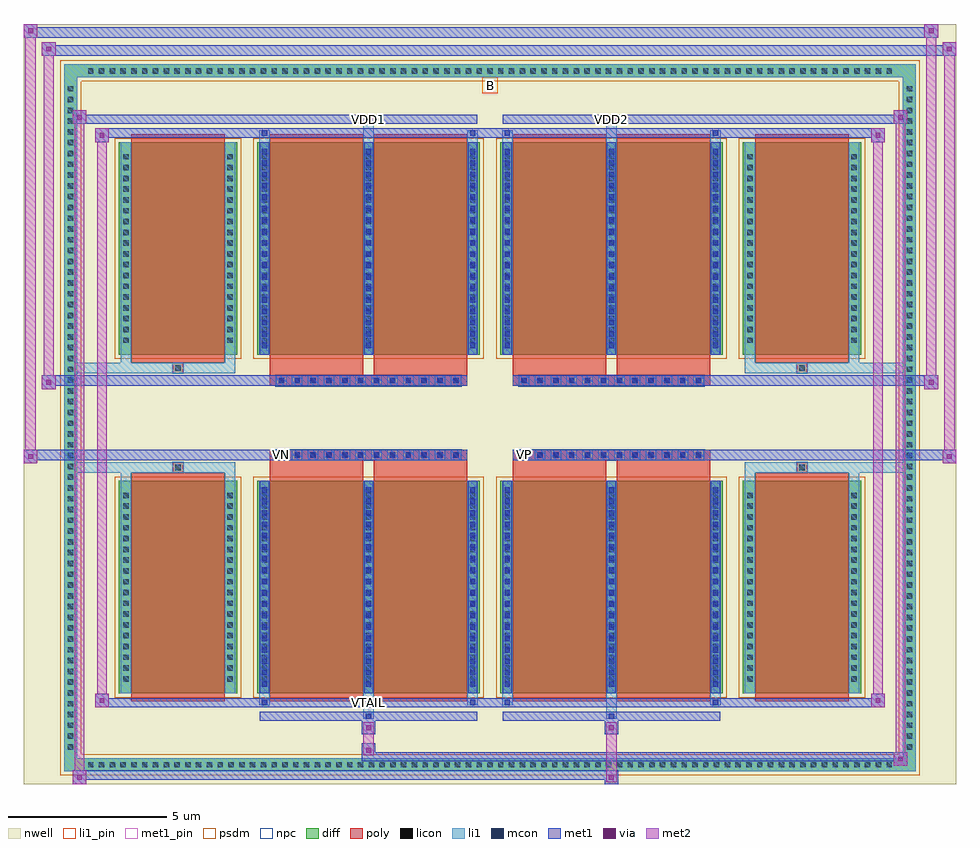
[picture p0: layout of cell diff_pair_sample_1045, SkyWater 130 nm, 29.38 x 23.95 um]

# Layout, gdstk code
import gdstk
lib = gdstk.Library(unit=1e-6, precision=5e-09)
def R(c, l, rs):  # rectangles x0, y0, x1, y1
    for r in rs: c.add(gdstk.rectangle(r[:2], r[2:], *l))
def A(c, l, x, y, w, h, nx, ny, dx, dy):  # array of equal rectangles
    R(c, l, [(x+i*dx, y+j*dy, x+i*dx+w, y+j*dy+h) for i in range(nx) for j in range(ny)])
def P(c, l, *ps):  # polygons
    for p in ps: c.add(gdstk.Polygon(p, *l))
nwell = (64, 20)
diff = (65, 20)
poly = (66, 20)
licon = (66, 44)
li1_pin = (67, 16)
li1 = (67, 20)
mcon = (67, 44)
met1_pin = (68, 16)
met1 = (68, 20)
via = (68, 44)
met2 = (69, 20)
psdm = (94, 20)
npc = (95, 20)

diff_pair_sample_1045 = lib.new_cell('diff_pair_sample_1045')
R(diff_pair_sample_1045, nwell, [(-14.69,-11.54,14.69,12.41), (-12.01,-9.73,-0.01,-0.805), (0.01,-9.73,12.01,-0.805), (-12.01,0.805,-0.01,9.73), (0.01,0.805,12.01,9.73)])
A(diff_pair_sample_1045, diff, -12.785, -11.14, 0.41, 0.41, 75, 2, 0.34, 21.87)
A(diff_pair_sample_1045, diff, -13.42, -10.575, 0.41, 0.41, 1, 62, 0, 0.34)
A(diff_pair_sample_1045, diff, 13.01, -10.575, 0.41, 0.41, 1, 62, 0, 0.34)
R(diff_pair_sample_1045, diff, [(-12.785,-11.14,12.785,-10.73), (-13.42,-10.575,-13.01,10.575), (13.01,-10.575,13.42,10.575), (-11.7,-8.685,-7.97,-1.985), (-7.33,-8.685,-0.32,-1.985), (0.32,-8.685,7.33,-1.985), (7.97,-8.685,11.7,-1.985), (-11.7,1.985,-7.97,8.685), (-7.33,1.985,-0.32,8.685), (0.32,1.985,7.33,8.685), (7.97,1.985,11.7,8.685), (-12.785,10.73,12.785,11.14)])
P(diff_pair_sample_1045, diff, [(13.42,11.14),(-13.42,11.14),(-13.42,-10.73),(-13.01,-10.73),(-13.01,10.73),(13.01,10.73),(13.01,-10.73),(-13.01,-10.73),(-13.42,-10.73),(-13.42,-11.14),(13.42,-11.14)])
A(diff_pair_sample_1045, poly, -6.74, -1.335, 0.33, 0.33, 12, 2, 0.5, 2.34)
A(diff_pair_sample_1045, poly, 0.91, -1.335, 0.33, 0.33, 12, 2, 0.5, 2.34)
R(diff_pair_sample_1045, poly, [(-11.31,-8.935,-8.36,-1.735), (-6.94,-8.935,-3.99,-1.735), (-3.66,-8.935,-0.71,-1.735), (0.71,-8.935,3.66,-1.735), (3.99,-8.935,6.94,-1.735), (8.36,-8.935,11.31,-1.735), (-10,-1.735,-9.67,-1.405), (-10,-1.735,-9.67,-1.405), (-6.94,-1.735,-3.99,-1.335), (-3.66,-1.735,-0.71,-1.335), (0.71,-1.735,3.66,-1.335), (3.99,-1.735,6.94,-1.335), (9.67,-1.735,10,-1.405), (9.67,-1.735,10,-1.405), (-6.94,-1.335,-0.71,-1.005), (0.71,-1.335,6.94,-1.005), (-6.94,1.005,-0.71,1.335), (0.71,1.005,6.94,1.335), (-6.94,1.335,-3.99,1.735), (-3.66,1.335,-0.71,1.735), (0.71,1.335,3.66,1.735), (3.99,1.335,6.94,1.735), (-10,1.405,-9.67,1.735), (-10,1.405,-9.67,1.735), (9.67,1.405,10,1.735), (9.67,1.405,10,1.735), (-11.31,1.735,-8.36,8.935), (-6.94,1.735,-3.99,8.935), (-3.66,1.735,-0.71,8.935), (0.71,1.735,3.66,8.935), (3.99,1.735,6.94,8.935), (8.36,1.735,11.31,8.935)])
A(diff_pair_sample_1045, licon, -12.665, -11.02, 0.17, 0.17, 75, 2, 0.34, 21.87)
A(diff_pair_sample_1045, licon, -13.3, -10.455, 0.17, 0.17, 1, 62, 0, 0.34)
A(diff_pair_sample_1045, licon, 13.13, -10.455, 0.17, 0.17, 1, 62, 0, 0.34)
A(diff_pair_sample_1045, licon, -11.56, -8.31, 0.17, 0.17, 1, 18, 0, 0.34)
A(diff_pair_sample_1045, licon, -8.28, -8.31, 0.17, 0.17, 1, 18, 0, 0.34)
A(diff_pair_sample_1045, licon, -7.19, -8.31, 0.17, 0.17, 3, 18, 3.28, 0.34)
A(diff_pair_sample_1045, licon, 0.46, -8.31, 0.17, 0.17, 3, 18, 3.28, 0.34)
A(diff_pair_sample_1045, licon, 8.11, -8.31, 0.17, 0.17, 1, 18, 0, 0.34)
A(diff_pair_sample_1045, licon, 11.39, -8.31, 0.17, 0.17, 1, 18, 0, 0.34)
A(diff_pair_sample_1045, licon, -6.66, -1.255, 0.17, 0.17, 12, 2, 0.5, 2.34)
A(diff_pair_sample_1045, licon, 0.99, -1.255, 0.17, 0.17, 12, 2, 0.5, 2.34)
A(diff_pair_sample_1045, licon, -11.56, 2.36, 0.17, 0.17, 1, 18, 0, 0.34)
A(diff_pair_sample_1045, licon, -8.28, 2.36, 0.17, 0.17, 1, 18, 0, 0.34)
A(diff_pair_sample_1045, licon, -7.19, 2.36, 0.17, 0.17, 3, 18, 3.28, 0.34)
A(diff_pair_sample_1045, licon, 0.46, 2.36, 0.17, 0.17, 3, 18, 3.28, 0.34)
A(diff_pair_sample_1045, licon, 8.11, 2.36, 0.17, 0.17, 1, 18, 0, 0.34)
A(diff_pair_sample_1045, licon, 11.39, 2.36, 0.17, 0.17, 1, 18, 0, 0.34)
R(diff_pair_sample_1045, licon, [(-9.92,-1.655,-9.75,-1.485), (9.75,-1.655,9.92,-1.485), (-9.92,1.485,-9.75,1.655), (9.75,1.485,9.92,1.655)])
R(diff_pair_sample_1045, li1_pin, [(-0.25,10.23,0.25,10.73)])
A(diff_pair_sample_1045, li1, -12.745, -11.1, 0.33, 0.33, 75, 2, 0.34, 21.87)
A(diff_pair_sample_1045, li1, -13.38, -10.535, 0.33, 0.33, 1, 62, 0, 0.34)
A(diff_pair_sample_1045, li1, 13.05, -10.535, 0.33, 0.33, 1, 62, 0, 0.34)
A(diff_pair_sample_1045, li1, -7.27, -8.685, 0.33, 6.7, 3, 2, 3.28, 10.67)
A(diff_pair_sample_1045, li1, 0.38, -8.685, 0.33, 6.7, 3, 2, 3.28, 10.67)
A(diff_pair_sample_1045, li1, -7.19, -8.48, 0.17, 0.17, 3, 18, 3.28, 0.36)
A(diff_pair_sample_1045, li1, -7.19, -8.48, 0.17, 6.29, 3, 2, 3.28, 10.67)
A(diff_pair_sample_1045, li1, 0.46, -8.48, 0.17, 0.17, 3, 18, 3.28, 0.36)
A(diff_pair_sample_1045, li1, 0.46, -8.48, 0.17, 6.29, 3, 2, 3.28, 10.67)
A(diff_pair_sample_1045, li1, -11.64, -8.39, 0.33, 0.33, 1, 18, 0, 0.34)
A(diff_pair_sample_1045, li1, -8.36, -8.39, 0.33, 0.33, 1, 18, 0, 0.34)
A(diff_pair_sample_1045, li1, -7.27, -8.39, 0.33, 0.33, 3, 18, 3.28, 0.34)
A(diff_pair_sample_1045, li1, 0.38, -8.39, 0.33, 0.33, 3, 18, 3.28, 0.34)
A(diff_pair_sample_1045, li1, 8.03, -8.39, 0.33, 0.33, 1, 18, 0, 0.34)
A(diff_pair_sample_1045, li1, 11.31, -8.39, 0.33, 0.33, 1, 18, 0, 0.34)
A(diff_pair_sample_1045, li1, -6.74, -1.335, 0.33, 0.33, 12, 2, 0.5, 2.34)
A(diff_pair_sample_1045, li1, 0.91, -1.335, 0.33, 0.33, 12, 2, 0.5, 2.34)
A(diff_pair_sample_1045, li1, -7.19, 2.19, 0.17, 0.17, 3, 18, 3.28, 0.36)
A(diff_pair_sample_1045, li1, 0.46, 2.19, 0.17, 0.17, 3, 18, 3.28, 0.36)
A(diff_pair_sample_1045, li1, -11.64, 2.28, 0.33, 0.33, 1, 18, 0, 0.34)
A(diff_pair_sample_1045, li1, -8.36, 2.28, 0.33, 0.33, 1, 18, 0, 0.34)
A(diff_pair_sample_1045, li1, -7.27, 2.28, 0.33, 0.33, 3, 18, 3.28, 0.34)
A(diff_pair_sample_1045, li1, 0.38, 2.28, 0.33, 0.33, 3, 18, 3.28, 0.34)
A(diff_pair_sample_1045, li1, 8.03, 2.28, 0.33, 0.33, 1, 18, 0, 0.34)
A(diff_pair_sample_1045, li1, 11.31, 2.28, 0.33, 0.33, 1, 18, 0, 0.34)
R(diff_pair_sample_1045, li1, [(-13.42,-11.14,-13.01,-10.73), (-13.42,-11.14,-13.01,-10.73), (-13.01,-11.14,13.01,-10.73), (13.01,-11.14,13.42,-10.73), (13.01,-11.14,13.42,-10.73), (-13.42,-10.73,-13.01,10.73), (13.01,-10.73,13.42,10.73), (-3.99,-9.49,-3.66,-8.685), (-3.91,-9.49,-3.74,-9.32), (3.66,-9.49,3.99,-8.685), (3.74,-9.49,3.91,-9.32), (-7.27,-9.06,-6.94,-8.685), (-7.19,-9.06,-7.02,-8.89), (-0.71,-9.06,-0.38,-8.685), (-0.63,-9.06,-0.46,-8.89), (0.38,-9.06,0.71,-8.685), (0.46,-9.06,0.63,-8.89), (6.94,-9.06,7.27,-8.685), (7.02,-9.06,7.19,-8.89), (-11.64,-8.685,-11.31,-1.985), (-8.36,-8.685,-8.03,-1.985), (8.03,-8.685,8.36,-1.985), (11.31,-8.685,11.64,-1.985), (-11.64,-1.985,-11.31,-1.405), (-8.36,-1.985,-8.03,-1.405), (8.03,-1.985,8.36,-1.405), (11.31,-1.985,11.64,-1.405), (-13.42,-1.735,-10,-1.405), (-11.64,-1.735,-10,-1.405), (-10,-1.735,-9.67,-1.405), (-9.67,-1.735,-8.03,-1.405), (8.03,-1.735,9.67,-1.405), (9.67,-1.735,10,-1.405), (9.67,-1.735,13.42,-1.405), (10,-1.735,11.64,-1.405), (-13.42,1.405,-10,1.735), (-11.64,1.405,-10,1.735), (-11.64,1.405,-11.31,1.985), (-10,1.405,-9.67,1.735), (-9.67,1.405,-8.03,1.735), (-8.36,1.405,-8.03,1.985), (8.03,1.405,9.67,1.735), (8.03,1.405,8.36,1.985), (9.67,1.405,10,1.735), (9.67,1.405,13.42,1.735), (10,1.405,11.64,1.735), (11.31,1.405,11.64,1.985), (-11.64,1.985,-11.31,8.685), (-8.36,1.985,-8.03,8.685), (8.03,1.985,8.36,8.685), (11.31,1.985,11.64,8.685), (-7.27,8.685,-6.94,9.06), (-3.99,8.685,-3.66,9.49), (-0.71,8.685,-0.38,9.06), (0.38,8.685,0.71,9.06), (3.66,8.685,3.99,9.49), (6.94,8.685,7.27,9.06), (-7.19,8.89,-7.02,9.06), (-0.63,8.89,-0.46,9.06), (0.46,8.89,0.63,9.06), (7.02,8.89,7.19,9.06), (-3.91,9.32,-3.74,9.49), (3.74,9.32,3.91,9.49), (-13.42,10.73,-13.01,11.14), (-13.42,10.73,-13.01,11.14), (-13.01,10.73,13.01,11.14), (13.01,10.73,13.42,11.14), (13.01,10.73,13.42,11.14)])
A(diff_pair_sample_1045, mcon, -7.19, -8.48, 0.17, 0.17, 3, 18, 3.28, 0.36)
A(diff_pair_sample_1045, mcon, 0.46, -8.48, 0.17, 0.17, 3, 18, 3.28, 0.36)
A(diff_pair_sample_1045, mcon, -6.66, -1.255, 0.17, 0.17, 12, 2, 0.5, 2.34)
A(diff_pair_sample_1045, mcon, 0.99, -1.255, 0.17, 0.17, 12, 2, 0.5, 2.34)
A(diff_pair_sample_1045, mcon, -7.19, 2.19, 0.17, 0.17, 3, 18, 3.28, 0.36)
A(diff_pair_sample_1045, mcon, 0.46, 2.19, 0.17, 0.17, 3, 18, 3.28, 0.36)
R(diff_pair_sample_1045, mcon, [(-3.91,-9.49,-3.74,-9.32), (3.74,-9.49,3.91,-9.32), (-7.19,-9.06,-7.02,-8.89), (-0.63,-9.06,-0.46,-8.89), (0.46,-9.06,0.63,-8.89), (7.02,-9.06,7.19,-8.89), (-7.19,8.89,-7.02,9.06), (-0.63,8.89,-0.46,9.06), (0.46,8.89,0.63,9.06), (7.02,8.89,7.19,9.06), (-3.91,9.32,-3.74,9.49), (3.74,9.32,3.91,9.49)])
R(diff_pair_sample_1045, met1_pin, [(-3.96,-9.1,-3.69,-8.83), (-6.71,-1.295,-6.44,-1.025), (0.94,-1.295,1.21,-1.025), (-3.96,9.28,-3.69,9.55), (3.69,9.28,3.96,9.55)])
A(diff_pair_sample_1045, met1, -7.25, -8.685, 0.29, 6.7, 3, 2, 3.28, 10.67)
A(diff_pair_sample_1045, met1, 0.4, -8.685, 0.29, 6.7, 3, 2, 3.28, 10.67)
A(diff_pair_sample_1045, met1, -7.25, -8.54, 0.29, 0.29, 3, 18, 3.28, 0.36)
A(diff_pair_sample_1045, met1, 0.4, -8.54, 0.29, 0.29, 3, 18, 3.28, 0.36)
A(diff_pair_sample_1045, met1, -6.72, -1.315, 0.29, 0.29, 12, 2, 0.5, 2.34)
A(diff_pair_sample_1045, met1, 0.93, -1.315, 0.29, 0.29, 12, 2, 0.5, 2.34)
A(diff_pair_sample_1045, met1, -7.25, 2.13, 0.29, 0.29, 3, 18, 3.28, 0.36)
A(diff_pair_sample_1045, met1, 0.4, 2.13, 0.29, 0.29, 3, 18, 3.28, 0.36)
R(diff_pair_sample_1045, met1, [(-13.15,-11.54,-12.72,-11.11), (3.61,-11.54,4.04,-11.11), (-13.15,-11.4,4.04,-11.11), (12.72,-10.97,13.15,-10.54), (-4.04,-10.83,13.15,-10.54), (-4.04,-10.69,-3.61,-10.26), (-4.04,-9.98,-3.61,-9.55), (3.61,-9.98,4.04,-9.55), (-7.25,-9.55,-0.4,-9.26), (-3.97,-9.55,-3.68,-9.26), (0.4,-9.55,7.25,-9.26), (3.68,-9.55,3.97,-9.26), (-12.44,-9.12,-12.01,-8.69), (-12.44,-9.12,-7.25,-8.83), (-7.25,-9.12,-6.96,-8.83), (-7.25,-9.12,-0.4,-8.83), (-0.69,-9.12,-0.4,-8.83), (-0.4,-9.12,0.4,-8.83), (0.4,-9.12,0.69,-8.83), (0.4,-9.12,7.25,-8.83), (6.96,-9.12,7.25,-8.83), (7.25,-9.12,12.44,-8.83), (12.01,-9.12,12.44,-8.69), (-14.69,-1.435,-14.26,-1.005), (14.26,-1.435,14.69,-1.005), (-14.69,-1.335,-0.71,-1.005), (-6.94,-1.335,-0.71,-1.005), (0.71,-1.335,6.94,-1.005), (0.71,-1.335,14.69,-1.005), (-14.12,0.905,-13.69,1.335), (13.69,0.905,14.12,1.335), (-14.12,1.005,-6.94,1.335), (-6.94,1.005,-0.71,1.335), (0.71,1.005,6.94,1.335), (6.94,1.005,14.12,1.335), (-12.44,8.69,-12.01,9.12), (12.01,8.69,12.44,9.12), (-12.44,8.83,-7.25,9.12), (-7.25,8.83,-6.96,9.12), (-7.25,8.83,-0.4,9.12), (-0.69,8.83,-0.4,9.12), (-0.4,8.83,0.4,9.12), (0.4,8.83,0.69,9.12), (0.4,8.83,7.25,9.12), (6.96,8.83,7.25,9.12), (7.25,8.83,12.44,9.12), (-13.15,9.26,-12.72,9.69), (-13.15,9.26,-7.25,9.55), (-7.25,9.26,-0.4,9.55), (-3.97,9.26,-3.68,9.55), (0.4,9.26,7.25,9.55), (3.68,9.26,3.97,9.55), (7.25,9.26,13.15,9.55), (12.72,9.26,13.15,9.69), (-14.12,11.41,-13.69,11.84), (-14.12,11.41,-12.01,11.74), (-12.01,11.41,12.01,11.74), (12.01,11.41,14.69,11.74), (14.26,11.41,14.69,11.84), (-14.69,11.98,-14.26,12.41), (-14.69,11.98,-12.01,12.31), (-12.01,11.98,12.01,12.31), (12.01,11.98,14.12,12.31), (13.69,11.98,14.12,12.41)])
R(diff_pair_sample_1045, via, [(-13.01,-11.4,-12.86,-11.25), (3.75,-11.4,3.9,-11.25), (12.86,-10.83,13.01,-10.68), (-3.9,-10.55,-3.75,-10.4), (-3.9,-9.84,-3.75,-9.69), (3.75,-9.84,3.9,-9.69), (-12.3,-8.98,-12.15,-8.83), (12.15,-8.98,12.3,-8.83), (-14.55,-1.295,-14.4,-1.145), (14.4,-1.295,14.55,-1.145), (-13.98,1.045,-13.83,1.195), (13.83,1.045,13.98,1.195), (-12.3,8.83,-12.15,8.98), (12.15,8.83,12.3,8.98), (-13.01,9.4,-12.86,9.55), (12.86,9.4,13.01,9.55), (-13.98,11.55,-13.83,11.7), (14.4,11.55,14.55,11.7), (-14.55,12.12,-14.4,12.27), (13.83,12.12,13.98,12.27)])
R(diff_pair_sample_1045, met2, [(-13.15,-11.54,-12.72,-11.11), (-13.08,-11.54,-12.79,9.69), (-12.79,-11.54,-12.72,-11.11), (-13.1,-11.49,-12.77,-11.16), (3.66,-11.49,3.99,-11.16), (3.66,-11.16,3.99,-9.93), (12.72,-10.97,13.15,-10.54), (12.79,-10.97,13.08,9.69), (13.08,-10.97,13.15,-10.54), (12.77,-10.92,13.1,-10.59), (-3.99,-10.64,-3.66,-10.31), (-3.99,-10.31,-3.66,-9.93), (-3.99,-9.93,-3.66,-9.6), (3.66,-9.93,3.99,-9.6), (-12.44,-9.12,-12.01,-8.69), (-12.37,-9.12,-12.08,9.12), (-12.08,-9.12,-12.01,-8.69), (12.01,-9.12,12.44,-8.69), (12.08,-9.12,12.37,9.12), (12.37,-9.12,12.44,-8.69), (-12.39,-9.07,-12.06,-8.74), (12.06,-9.07,12.39,-8.74), (-14.69,-1.435,-14.26,-1.005), (-14.64,-1.435,-14.31,12.41), (-14.31,-1.435,-14.26,-1.005), (14.26,-1.435,14.69,-1.005), (14.31,-1.435,14.64,11.84), (14.64,-1.435,14.69,-1.005), (-14.64,-1.385,-14.31,-1.055), (14.31,-1.385,14.64,-1.055), (-14.12,0.905,-13.69,1.335), (-14.07,0.905,-13.74,11.84), (-13.74,0.905,-13.69,1.335), (13.69,0.905,14.12,1.335), (13.74,0.905,14.07,12.41), (14.07,0.905,14.12,1.335), (-14.07,0.955,-13.74,1.285), (13.74,0.955,14.07,1.285), (-12.44,8.69,-12.01,9.12), (-12.08,8.69,-12.01,9.12), (12.01,8.69,12.44,9.12), (12.37,8.69,12.44,9.12), (-12.39,8.74,-12.06,9.07), (12.06,8.74,12.39,9.07), (-13.15,9.26,-12.72,9.69), (-12.79,9.26,-12.72,9.69), (12.72,9.26,13.15,9.69), (13.08,9.26,13.15,9.69), (-13.1,9.31,-12.77,9.64), (12.77,9.31,13.1,9.64), (-14.12,11.41,-13.69,11.84), (-13.74,11.41,-13.69,11.84), (14.26,11.41,14.69,11.84), (14.64,11.41,14.69,11.84), (-14.07,11.46,-13.74,11.79), (14.31,11.46,14.64,11.79), (-14.69,11.98,-14.26,12.41), (-14.31,11.98,-14.26,12.41), (13.69,11.98,14.12,12.41), (14.07,11.98,14.12,12.41), (-14.64,12.03,-14.31,12.36), (13.74,12.03,14.07,12.36)])
R(diff_pair_sample_1045, psdm, [(-11.83,-8.815,-7.84,-1.855), (-7.46,-8.815,-0.19,-1.855), (0.19,-8.815,7.46,-1.855), (7.84,-8.815,11.83,-1.855), (-11.83,1.855,-7.84,8.815), (-7.46,1.855,-0.19,8.815), (0.19,1.855,7.46,8.815), (7.84,1.855,11.83,8.815)])
P(diff_pair_sample_1045, psdm, [(13.55,11.27),(-13.55,11.27),(-13.55,-10.6),(-12.88,-10.6),(-12.88,10.6),(12.88,10.6),(12.88,-10.6),(-12.88,-10.6),(-13.55,-10.6),(-13.55,-11.27),(13.55,-11.27)])
A(diff_pair_sample_1045, npc, -6.76, -1.355, 0.37, 0.37, 12, 2, 0.5, 2.34)
A(diff_pair_sample_1045, npc, 0.89, -1.355, 0.37, 0.37, 12, 2, 0.5, 2.34)
R(diff_pair_sample_1045, npc, [(-10.02,-1.755,-9.65,-1.385), (9.65,-1.755,10.02,-1.385), (-6.76,-1.355,-5.89,-0.985), (-6.76,-1.355,-5.89,-0.985), (-6.26,-1.355,-5.39,-0.985), (-6.26,-1.355,-5.39,-0.985), (-5.76,-1.355,-4.89,-0.985), (-5.76,-1.355,-4.89,-0.985), (-5.26,-1.355,-4.39,-0.985), (-5.26,-1.355,-4.39,-0.985), (-4.76,-1.355,-3.89,-0.985), (-4.76,-1.355,-3.89,-0.985), (-4.26,-1.355,-3.39,-0.985), (-4.26,-1.355,-3.39,-0.985), (-3.76,-1.355,-2.89,-0.985), (-3.76,-1.355,-2.89,-0.985), (-3.26,-1.355,-2.39,-0.985), (-3.26,-1.355,-2.39,-0.985), (-2.76,-1.355,-1.89,-0.985), (-2.76,-1.355,-1.89,-0.985), (-2.26,-1.355,-1.39,-0.985), (-2.26,-1.355,-1.39,-0.985), (-1.76,-1.355,-0.89,-0.985), (-1.76,-1.355,-0.89,-0.985), (0.89,-1.355,1.76,-0.985), (0.89,-1.355,1.76,-0.985), (1.39,-1.355,2.26,-0.985), (1.39,-1.355,2.26,-0.985), (1.89,-1.355,2.76,-0.985), (1.89,-1.355,2.76,-0.985), (2.39,-1.355,3.26,-0.985), (2.39,-1.355,3.26,-0.985), (2.89,-1.355,3.76,-0.985), (2.89,-1.355,3.76,-0.985), (3.39,-1.355,4.26,-0.985), (3.39,-1.355,4.26,-0.985), (3.89,-1.355,4.76,-0.985), (3.89,-1.355,4.76,-0.985), (4.39,-1.355,5.26,-0.985), (4.39,-1.355,5.26,-0.985), (4.89,-1.355,5.76,-0.985), (4.89,-1.355,5.76,-0.985), (5.39,-1.355,6.26,-0.985), (5.39,-1.355,6.26,-0.985), (5.89,-1.355,6.76,-0.985), (5.89,-1.355,6.76,-0.985), (-6.76,0.985,-5.89,1.355), (-6.76,0.985,-5.89,1.355), (-6.26,0.985,-5.39,1.355), (-6.26,0.985,-5.39,1.355), (-5.76,0.985,-4.89,1.355), (-5.76,0.985,-4.89,1.355), (-5.26,0.985,-4.39,1.355), (-5.26,0.985,-4.39,1.355), (-4.76,0.985,-3.89,1.355), (-4.76,0.985,-3.89,1.355), (-4.26,0.985,-3.39,1.355), (-4.26,0.985,-3.39,1.355), (-3.76,0.985,-2.89,1.355), (-3.76,0.985,-2.89,1.355), (-3.26,0.985,-2.39,1.355), (-3.26,0.985,-2.39,1.355), (-2.76,0.985,-1.89,1.355), (-2.76,0.985,-1.89,1.355), (-2.26,0.985,-1.39,1.355), (-2.26,0.985,-1.39,1.355), (-1.76,0.985,-0.89,1.355), (-1.76,0.985,-0.89,1.355), (0.89,0.985,1.76,1.355), (0.89,0.985,1.76,1.355), (1.39,0.985,2.26,1.355), (1.39,0.985,2.26,1.355), (1.89,0.985,2.76,1.355), (1.89,0.985,2.76,1.355), (2.39,0.985,3.26,1.355), (2.39,0.985,3.26,1.355), (2.89,0.985,3.76,1.355), (2.89,0.985,3.76,1.355), (3.39,0.985,4.26,1.355), (3.39,0.985,4.26,1.355), (3.89,0.985,4.76,1.355), (3.89,0.985,4.76,1.355), (4.39,0.985,5.26,1.355), (4.39,0.985,5.26,1.355), (4.89,0.985,5.76,1.355), (4.89,0.985,5.76,1.355), (5.39,0.985,6.26,1.355), (5.39,0.985,6.26,1.355), (5.89,0.985,6.76,1.355), (5.89,0.985,6.76,1.355), (-10.02,1.385,-9.65,1.755), (9.65,1.385,10.02,1.755)])
diff_pair_sample_1045.add(gdstk.Label('VTAIL', (-3.825,-8.965), layer=68, texttype=5))
diff_pair_sample_1045.add(gdstk.Label('VN', (-6.575,-1.16), layer=68, texttype=5))
diff_pair_sample_1045.add(gdstk.Label('VP', (1.075,-1.16), layer=68, texttype=5))
diff_pair_sample_1045.add(gdstk.Label('B', (0,10.48), layer=67, texttype=5))
diff_pair_sample_1045.add(gdstk.Label('VDD2', (3.825,9.415), layer=68, texttype=5))
diff_pair_sample_1045.add(gdstk.Label('VDD1', (-3.825,9.415), layer=68, texttype=5))

lib.write_gds('diff_pair_sample_1045.gds')
